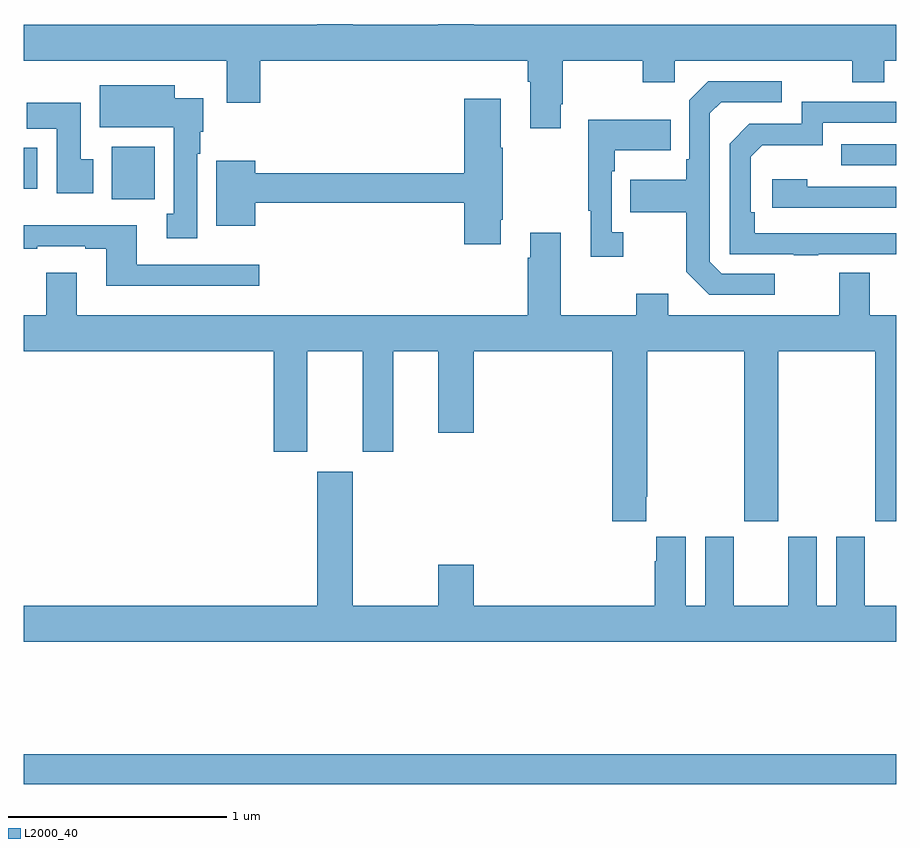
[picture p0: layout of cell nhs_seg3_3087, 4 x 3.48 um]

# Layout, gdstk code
import gdstk
lib = gdstk.Library(unit=1e-6, precision=1e-09)
def R(c, l, rs):  # rectangles x0, y0, x1, y1
    for r in rs: c.add(gdstk.rectangle(r[:2], r[2:], *l))
def P(c, l, *ps):  # polygons
    for p in ps: c.add(gdstk.Polygon(p, *l))
L2000_40 = (2000, 40)

nhs_seg3_3087 = lib.new_cell('nhs_seg3_3087')
R(nhs_seg3_3087, L2000_40, [(271,714.916,275,715.052), (271.403,717.596,271.6,717.838), (271,717.644,271.063,717.832), (274.747,717.753,275,717.849)])
P(nhs_seg3_3087, L2000_40, [(273.463,718.033),(273.471,718.033),(273.471,718.232),(273.838,718.232),(273.838,718.133),(273.984,718.133),(273.984,718.232),(274.798,718.232),(274.798,718.133),(274.945,718.133),(274.945,718.232),(275,718.232),(275,718.396),(273.064,718.396),(273.064,718.4),(272.9,718.4),(272.9,718.396),(272.509,718.396),(272.509,718.4),(272.345,718.4),(272.345,718.396),(271,718.396),(271,718.232),(271.931,718.232),(271.931,718.038),(272.084,718.038),(272.084,718.232),(273.311,718.232),(273.311,718.136),(273.323,718.136),(273.323,717.921),(273.463,717.921)],
  [(274.444,717.255),(274.2,717.255),(274.146,717.309),(274.146,717.99),(274.197,718.041),(274.474,718.041),(274.474,718.137),(274.137,718.137),(274.05,718.05),(274.05,717.781),(274.038,717.781),(274.038,717.685),(273.781,717.685),(273.781,717.538),(274.038,717.538),(274.038,717.265),(274.143,717.159),(274.444,717.159)],
  [(271.795,717.806),(271.81,717.806),(271.81,717.906),(271.822,717.906),(271.822,718.06),(271.693,718.06),(271.693,718.12),(271.349,718.12),(271.349,717.926),(271.688,717.926),(271.688,717.53),(271.655,717.53),(271.655,717.417),(271.795,717.417)],
  [(273.187,717.502),(273.195,717.502),(273.195,717.833),(273.187,717.833),(273.187,718.057),(273.02,718.057),(273.02,717.716),(272.062,717.716),(272.062,717.772),(271.883,717.772),(271.883,717.476),(272.062,717.476),(272.062,717.58),(273.02,717.58),(273.02,717.39),(273.187,717.39)],
  [(274.643,717.345),(275,717.345),(275,717.441),(274.352,717.441),(274.352,717.538),(274.332,717.538),(274.332,717.792),(274.385,717.845),(274.662,717.845),(274.662,717.948),(275,717.948),(275,718.044),(274.566,718.044),(274.566,717.942),(274.326,717.942),(274.236,717.852),(274.236,717.345),(274.531,717.345),(274.531,717.34),(274.643,717.34)],
  [(271.318,717.78),(271.261,717.78),(271.261,718.038),(271.013,718.038),(271.013,717.92),(271.151,717.92),(271.151,717.624),(271.318,717.624)],
  [(273.748,717.446),(273.696,717.446),(273.696,717.725),(273.709,717.725),(273.709,717.821),(273.965,717.821),(273.965,717.961),(273.588,717.961),(273.588,717.545),(273.599,717.545),(273.599,717.333),(273.748,717.333)],
  [(275,717.654),(274.592,717.654),(274.592,717.688),(274.431,717.688),(274.431,717.558),(275,717.558)],
  [(272.08,717.297),(271.519,717.297),(271.519,717.478),(271,717.478),(271,717.369),(271.063,717.369),(271.063,717.381),(271.283,717.381),(271.283,717.369),(271.379,717.369),(271.379,717.2),(272.08,717.2)],
  [(273.853,716.233),(273.858,716.233),(273.858,716.9),(274.303,716.9),(274.303,716.121),(274.458,716.121),(274.458,716.9),(274.903,716.9),(274.903,716.121),(275,716.121),(275,717.064),(274.879,717.064),(274.879,717.259),(274.739,717.259),(274.739,717.064),(273.955,717.064),(273.955,717.163),(273.808,717.163),(273.808,717.064),(273.463,717.064),(273.463,717.442),(273.323,717.442),(273.323,717.329),(273.311,717.329),(273.311,717.064),(271.243,717.064),(271.243,717.259),(271.103,717.259),(271.103,717.064),(271,717.064),(271,716.9),(272.147,716.9),(272.147,716.439),(272.299,716.439),(272.299,716.9),(272.555,716.9),(272.555,716.439),(272.695,716.439),(272.695,716.9),(272.9,716.9),(272.9,716.526),(273.064,716.526),(273.064,716.9),(273.698,716.9),(273.698,716.121),(273.853,716.121)],
  [(275,715.732),(274.855,715.732),(274.855,716.05),(274.724,716.05),(274.724,715.732),(274.636,715.732),(274.636,716.05),(274.505,716.05),(274.505,715.732),(274.255,715.732),(274.255,716.05),(274.124,716.05),(274.124,715.732),(274.036,715.732),(274.036,716.05),(273.899,716.05),(273.899,715.937),(273.893,715.937),(273.893,715.732),(273.064,715.732),(273.064,715.921),(272.9,715.921),(272.9,715.732),(272.509,715.732),(272.509,716.347),(272.345,716.347),(272.345,715.732),(271,715.732),(271,715.568),(275,715.568)])

lib.write_gds('nhs_seg3_3087.gds')
